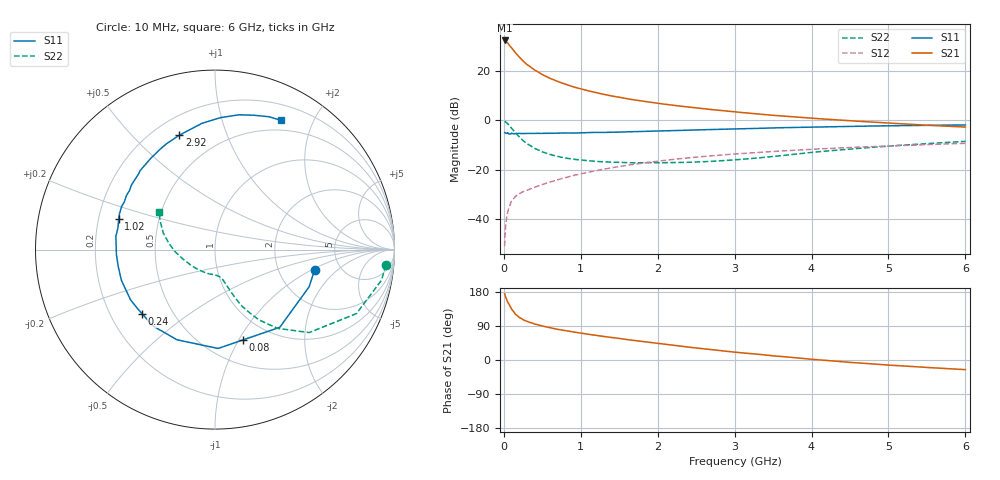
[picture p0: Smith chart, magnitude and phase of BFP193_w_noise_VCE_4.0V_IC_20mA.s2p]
! Infineon Technologies  Discrete & RF Semiconductors
! BFP193
! VCE = 4.0 V,  IC =  20 mA
! Common Emitter S-Parameters:  Jan 2016
# GHz  S  MA  R  50
!  f  S11  S21  S12  S22
! GHz  MAG  ANG  MAG  ANG  MAG  ANG  MAG  ANG
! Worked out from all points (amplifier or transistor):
!   210 points, 10 MHz to 6 GHz, reference 50 ohm
!   highest |S21| = 32.5 dB at 10 MHz (marker M1)
!   |S21| within 3 dB of that: start of sweep to 101.3 MHz
!   unconditionally stable (mu >= 1): 789.1 MHz to 3.768 GHz
!   at 185 MHz: K = 0.48, MSG = 28.2 dB, |S12| = -30.1 dB
!   at 1.52 GHz: K = 1.08, MAG = 12.3 dB, |S12| = -18.6 dB
!   at 6 GHz: K = 0.92, MSG = 3.3 dB, |S12| = -9.3 dB
!   lowest NFmin = 1.40 dB at 450 MHz
!   S11 on the Smith chart (normalised r, x): 10 MHz: 3.23, -1.07; 80 MHz: 0.75, -1.04; 240 MHz: 0.34, -0.34; 1.02 GHz: 0.29, +0.14; 2.92 GHz: 0.30, +0.69; 6 GHz: 0.38, +1.57
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0.01  0.5666 -11.4  42.1 174.5  0.0028 87.6  0.9554 -5.2
0.02  0.5639 -21.6  40.81 167.7  0.0063 78.8  0.9433 -10.4
0.05  0.5636 -50.2  37.28 152.9  0.0139 71.8  0.8655 -24.3
0.08  0.5269 -72.9  32.45 142.4  0.0193 62.0  0.7573 -33.7
0.1  0.5511 -88.2  29.99 133.8  0.0231 58.1  0.6992 -41.4
0.15  0.5452 -112.8  23.65 120.8  0.0287 52.8  0.5598 -51.6
0.2  0.5476 -128.7  19.33 112.4  0.0323 50.7  0.4621 -58.0
0.24  0.5414 -138.6  16.67 107.6  0.0351 49.4  0.4022 -61.2
0.26  0.5425 -142.7  15.55 105.3  0.0363 49.3  0.3778 -62.7
0.3  0.5474 -149.3  13.69 101.6  0.0382 50.0  0.3393 -65.1
0.4  0.5487 -161.7  10.57 95.0  0.044 51.5  0.2711 -68.3
0.5  0.5473 -169.9  8.522 89.6  0.0501 53.3  0.2302 -70.5
0.6  0.55 -177.2  7.168 84.9  0.0562 54.8  0.2042 -72.4
0.7  0.5517 176.9  6.187 80.9  0.0623 56.0  0.1858 -74.0
1.02  0.5632 162.3  4.291 70.3  0.0838 56.8  0.1561 -79.2
1.4  0.5784 148.6  3.14 59.6  0.1091 55.5  0.1428 -88.4
2.02  0.6111 129.9  2.209 43.4  0.1503 50.1  0.1382 -108.2
2.92  0.6667 107.3  1.537 22.5  0.2041 40.2  0.1555 -143.1
3.1  0.6772 103.6  1.446 18.9  0.2137 38.1  0.163 -149.8
4.1  0.7402 86.0  1.084 0.4  0.2642 27.0  0.2315 180.0
5.1  0.7827 72.6  0.868 -14.6  0.307 16.2  0.3094 160.3
6  0.809 62.8  0.734 -25.4  0.3432 6.7  0.3757 146.1
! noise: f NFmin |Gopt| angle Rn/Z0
0.45  1.4  0.3  160  0.1
0.9  1.45  0.34  172  0.11
1.8  2.2  0.56  -148  0.2
